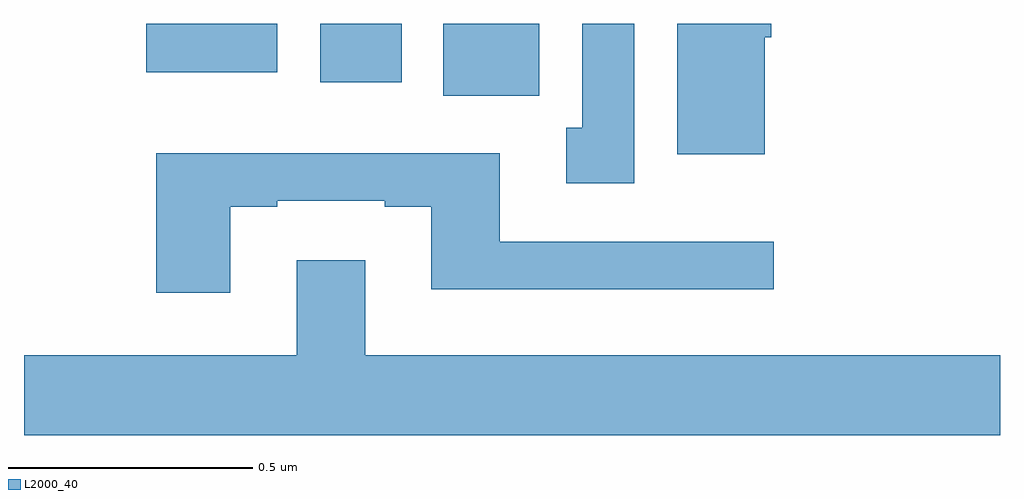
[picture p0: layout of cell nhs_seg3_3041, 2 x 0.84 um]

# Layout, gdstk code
import gdstk
lib = gdstk.Library(unit=1e-6, precision=1e-09)
def R(c, l, rs):  # rectangles x0, y0, x1, y1
    for r in rs: c.add(gdstk.rectangle(r[:2], r[2:], *l))
def P(c, l, *ps):  # polygons
    for p in ps: c.add(gdstk.Polygon(p, *l))
L2000_40 = (2000, 40)

nhs_seg3_3041 = lib.new_cell('nhs_seg3_3041')
R(nhs_seg3_3041, L2000_40, [(148.859,728.252,149.056,728.4), (148.607,728.28,148.774,728.4), (148.25,728.3,148.519,728.4)])
P(nhs_seg3_3041, L2000_40, [(149.251,728.4),(149.144,728.4),(149.144,728.186),(149.111,728.186),(149.111,728.073),(149.251,728.073)],
  [(149.518,728.372),(149.531,728.372),(149.531,728.4),(149.339,728.4),(149.339,728.132),(149.518,728.132)],
  [(148.423,728.025),(148.519,728.025),(148.519,728.037),(148.739,728.037),(148.739,728.025),(148.835,728.025),(148.835,727.856),(149.536,727.856),(149.536,727.953),(148.975,727.953),(148.975,728.134),(148.271,728.134),(148.271,727.848),(148.423,727.848)],
  [(148.559,727.915),(148.559,727.72),(148,727.72),(148,727.556),(150,727.556),(150,727.72),(148.699,727.72),(148.699,727.915)])

lib.write_gds('nhs_seg3_3041.gds')
